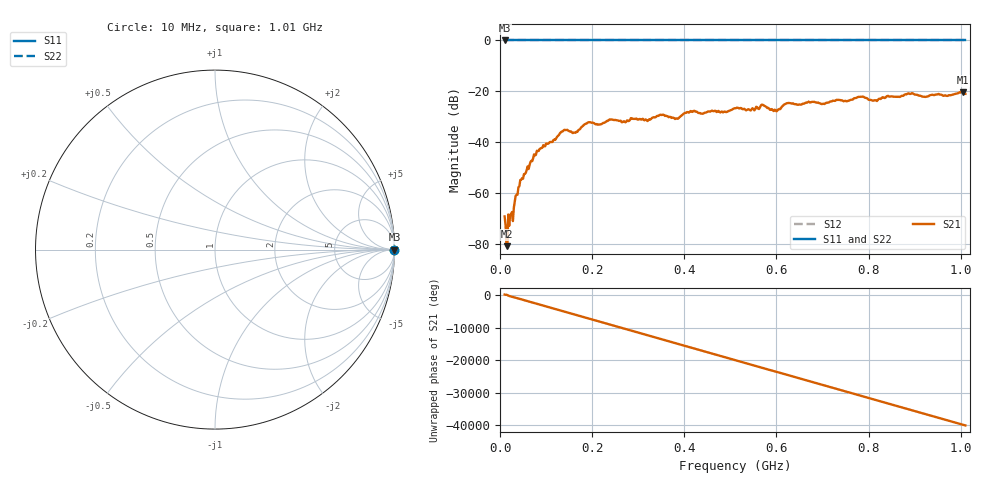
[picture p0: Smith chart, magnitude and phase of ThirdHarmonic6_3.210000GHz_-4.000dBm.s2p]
! 8/17/2025 9:46:13 AM
! C:\ANRITSUVNA\TEMP\TEMP.S2P
! CHANNEL.1
! TR.MEASUREMENT
! RAW.DATA
! RF.CORRECTION.OFF
! AVERAGING.OFF
! IF.BANDWIDTH: 5KHZ
! SWEEPTYPE:  FREQ.SWEEP(Linear)
! Reference Plane Port Info
! PORT:  PORT1  PORT2
! DISTANCE:  0  m  0  m
! TIME:  0  s  0  s
! PHASE.OFFSET:  0  deg.  0  deg.
! LOSS:  0  dB  0  dB
! REF.LOSS:  0  dB  0  dB
! REF.FREQ:  0  Hz  0  Hz
! Power Info
! POWER:  -20  dBm  -20  dBm
! EFF.POWER:  -20  dBm  -20  dBm
! SOURCE.ATTEN:  0  dB  0  dB
! TEST.ATTEN:  0  dB  0  dB
# GHZ S RI R 50.0
! FREQ.GHZ  S11RE  S11IM  S21RE  S21IM  S12RE  S12IM  S22RE  S22IM
!; PortSelection: Port_12
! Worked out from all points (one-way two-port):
!   501 points, 10 MHz to 1.01 GHz, reference 50 ohm
!   highest |S21| = -20.28 dB at 1.004 GHz (marker M1); lowest = -80.7 dB at 16 MHz (marker M2)
!   lowest |S11| = 0.0 dB at 10 MHz (marker M3)
!   |S11| at or under -10 dB: nowhere
!   |S22| runs from 0.0 to 0.0 dB; largest |S21 - S12| = 1.1
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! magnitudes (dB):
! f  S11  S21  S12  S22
! 10 MHz  0.0  -69.1  0.0  0.0
! 16 MHz  0.0  -80.7  0.0  0.0
! 22 MHz  0.0  -68.4  0.0  0.0
! 24 MHz  0.0  -68.3  0.0  0.0
! 44 MHz  0.0  -54.8  0.0  0.0
! 78 MHz  0.0  -44.9  0.0  0.0
! 136 MHz  0.0  -35.7  0.0  0.0
! 162 MHz  0.0  -36.2  0.0  0.0
! 178 MHz  0.0  -33.8  0.0  0.0
! 194 MHz  0.0  -32.1  0.0  0.0
! 322 MHz  0.0  -31.3  0.0  0.0
! 344 MHz  0.0  -29.6  0.0  0.0
! 384 MHz  0.0  -30.6  0.0  0.0
! 410 MHz  0.0  -28.3  0.0  0.0
! 510 MHz  0.0  -26.6  0.0  0.0
! 570 MHz  0.0  -25.2  0.0  0.0
! 598 MHz  0.0  -27.4  0.0  0.0
! 624 MHz  0.0  -24.6  0.0  0.0
! 678 MHz  0.0  -24.1  0.0  0.0
! 844 MHz  0.0  -22.0  0.0  0.0
! 1.004 GHz  0.0  -20.3  0.0  0.0
! 1.01 GHz  0.0  -20.9  0.0  0.0
